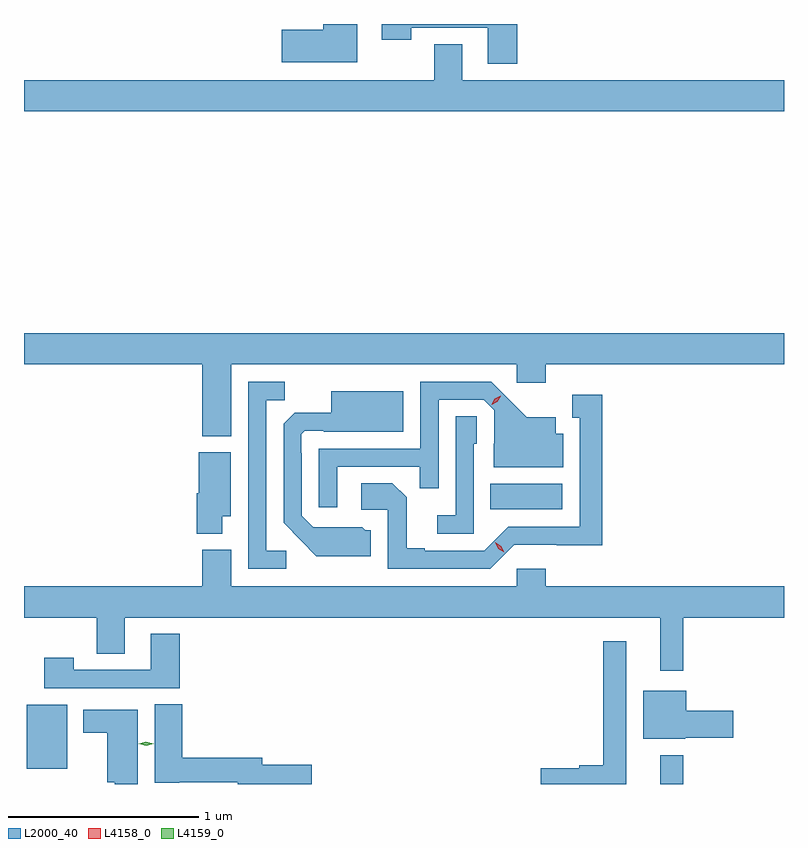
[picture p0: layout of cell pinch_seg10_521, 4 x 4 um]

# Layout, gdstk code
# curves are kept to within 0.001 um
import gdstk
lib = gdstk.Library(unit=1e-6, precision=1e-09)
def R(c, l, rs):  # rectangles x0, y0, x1, y1
    for r in rs: c.add(gdstk.rectangle(r[:2], r[2:], *l))
def P(c, l, *ps):  # polygons
    for p in ps: c.add(gdstk.Polygon(p, *l))
L2000_40 = (2000, 40)
L4158_0 = (4158, 0)
L4159_0 = (4159, 0)

pinch_seg10_521 = lib.new_cell('pinch_seg10_521')
R(pinch_seg10_521, L2000_40, [(306.761,1260.812,306.883,1260.964), (303.428,1260.893,303.64,1261.228), (305.866,1262.258,306.247,1262.392)])
P(pinch_seg10_521, L2000_40, [(305.167,1264.812),(304.988,1264.812),(304.988,1264.781),(304.77,1264.781),(304.77,1264.61),(305.167,1264.61)],
  [(306.008,1264.812),(305.295,1264.812),(305.295,1264.728),(305.451,1264.728),(305.451,1264.791),(305.855,1264.791),(305.855,1264.602),(306.008,1264.602)],
  [(307.413,1264.516),(305.719,1264.516),(305.719,1264.706),(305.572,1264.706),(305.572,1264.516),(303.413,1264.516),(303.413,1264.352),(307.413,1264.352)],
  [(304.504,1263.02),(306.006,1263.02),(306.006,1262.925),(306.158,1262.925),(306.158,1263.02),(307.413,1263.02),(307.413,1263.184),(303.413,1263.184),(303.413,1263.02),(304.352,1263.02),(304.352,1262.642),(304.504,1262.642)],
  [(304.792,1262.04),(304.689,1262.04),(304.689,1262.833),(304.785,1262.833),(304.785,1262.928),(304.593,1262.928),(304.593,1261.944),(304.792,1261.944)],
  [(305.061,1262.481),(305.497,1262.481),(305.497,1262.368),(305.595,1262.368),(305.595,1262.835),(305.832,1262.835),(305.889,1262.778),(305.889,1262.604),(305.885,1262.604),(305.885,1262.48),(306.25,1262.48),(306.25,1262.656),(306.211,1262.656),(306.211,1262.743),(306.059,1262.743),(305.872,1262.928),(305.499,1262.928),(305.499,1262.577),(304.965,1262.577),(304.965,1262.268),(305.061,1262.268)],
  [(305.239,1262.148),(305.208,1262.148),(305.192,1262.164),(304.935,1262.163),(304.875,1262.223),(304.875,1262.552),(304.872,1262.552),(304.872,1262.652),(304.89,1262.67),(304.99,1262.67),(304.99,1262.666),(305.41,1262.666),(305.41,1262.878),(305.03,1262.878),(305.03,1262.767),(304.838,1262.767),(304.779,1262.708),(304.779,1262.186),(304.951,1262.012),(305.239,1262.012)],
  [(305.994,1262.07),(306.457,1262.069),(306.457,1262.86),(306.299,1262.86),(306.299,1262.739),(306.338,1262.739),(306.338,1262.166),(305.961,1262.166),(305.835,1262.04),(305.521,1262.04),(305.521,1262.053),(305.427,1262.053),(305.427,1262.32),(305.351,1262.396),(305.187,1262.396),(305.187,1262.256),(305.328,1262.256),(305.328,1261.944),(305.868,1261.944)],
  [(305.781,1262.604),(305.796,1262.604),(305.796,1262.747),(305.685,1262.747),(305.685,1262.227),(305.589,1262.227),(305.589,1262.13),(305.781,1262.13)],
  [(304.456,1262.222),(304.501,1262.222),(304.501,1262.557),(304.334,1262.557),(304.334,1262.343),(304.322,1262.343),(304.322,1262.129),(304.456,1262.129)],
  [(306.883,1261.688),(307.413,1261.688),(307.413,1261.852),(306.158,1261.852),(306.158,1261.945),(306.006,1261.945),(306.006,1261.852),(304.504,1261.852),(304.504,1262.044),(304.352,1262.044),(304.352,1261.852),(303.413,1261.852),(303.413,1261.688),(303.796,1261.688),(303.796,1261.498),(303.943,1261.498),(303.943,1261.688),(306.761,1261.688),(306.761,1261.407),(306.883,1261.407)],
  [(304.232,1261.603),(304.079,1261.603),(304.079,1261.413),(303.675,1261.413),(303.675,1261.477),(303.519,1261.477),(303.519,1261.317),(304.232,1261.317)],
  [(306.583,1261.564),(306.462,1261.564),(306.462,1260.911),(306.336,1260.911),(306.336,1260.896),(306.132,1260.896),(306.132,1260.812),(306.583,1260.812)],
  [(306.894,1261.055),(307.147,1261.055),(307.147,1261.197),(306.898,1261.197),(306.898,1261.303),(306.671,1261.303),(306.671,1261.049),(306.894,1261.049)],
  [(304.927,1260.914),(304.666,1260.914),(304.666,1260.95),(304.247,1260.95),(304.247,1261.232),(304.1,1261.232),(304.1,1260.818),(304.23,1260.818),(304.23,1260.822),(304.538,1260.822),(304.538,1260.812),(304.927,1260.812)],
  [(304.012,1261.204),(303.725,1261.204),(303.725,1261.082),(303.851,1261.082),(303.851,1260.821),(303.89,1260.821),(303.89,1260.812),(304.012,1260.812)])
P(pinch_seg10_521, L4158_0, [(305.874,1262.809),(305.874,1262.81),(305.891,1262.839),(305.922,1262.855),(305.922,1262.855),(305.922,1262.854),(305.905,1262.825),(305.874,1262.809)],
  [(305.941,1262.032),(305.91,1262.051),(305.892,1262.083),(305.892,1262.084),(305.893,1262.084),(305.924,1262.064),(305.941,1262.032),(305.941,1262.032)])
P(pinch_seg10_521, L4159_0, [(304.056,1261.014),(304.016,1261.023),(304.016,1261.024),(304.016,1261.024),(304.055,1261.034),(304.095,1261.024),(304.095,1261.024),(304.095,1261.024)])

lib.write_gds('pinch_seg10_521.gds')
